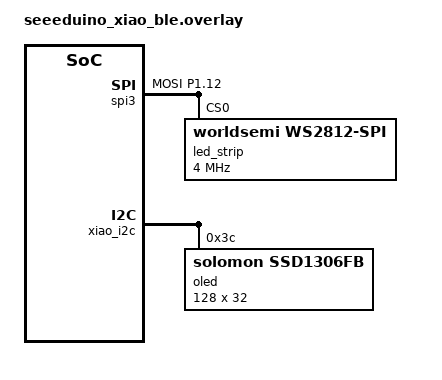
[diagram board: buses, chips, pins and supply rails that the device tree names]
#include <dt-bindings/led/led.h>

&pinctrl {
    spi3_default: spi3_default {
        group1 {
            psels = <NRF_PSEL(SPIM_MOSI, 1, 12)>;
        };
    };

    spi3_sleep: spi3_sleep {
        group1 {
            psels = <NRF_PSEL(SPIM_MOSI, 1, 12)>;
            low-power-enable;
        };
    };
};

&spi3 {
    compatible = "nordic,nrf-spim";
    status = "okay";

    pinctrl-0 = <&spi3_default>;
    pinctrl-1 = <&spi3_sleep>;
    pinctrl-names = "default", "sleep";

    led_strip: ws2812@0 {
        compatible = "worldsemi,ws2812-spi";

        /* SPI */
        reg = <0>; /* ignored, but necessary for SPI bindings */
        spi-max-frequency = <4000000>;

        /* WS2812 */
        chain-length = <5>; /* number of LEDs */
        spi-one-frame = <0x70>;
        spi-zero-frame = <0x40>;
        color-mapping = <LED_COLOR_ID_GREEN
                         LED_COLOR_ID_RED
                         LED_COLOR_ID_BLUE>;
    };
};

&xiao_i2c {
    status = "okay";

    oled: ssd1306@3c {
        compatible = "solomon,ssd1306fb";
        reg = <0x3c>;
        width = <128>;
        height = <32>;
        segment-offset = <0>;
        page-offset = <0>;
        display-offset = <0>;
        multiplex-ratio = <31>;
        segment-remap;
        com-invdir;
        com-sequential;
        inversion-on;
        prechargep = <0x22>;
    };
};

/ {
    chosen {
        zmk,underglow = &led_strip;
        zephyr,display = &oled;
    };
};
